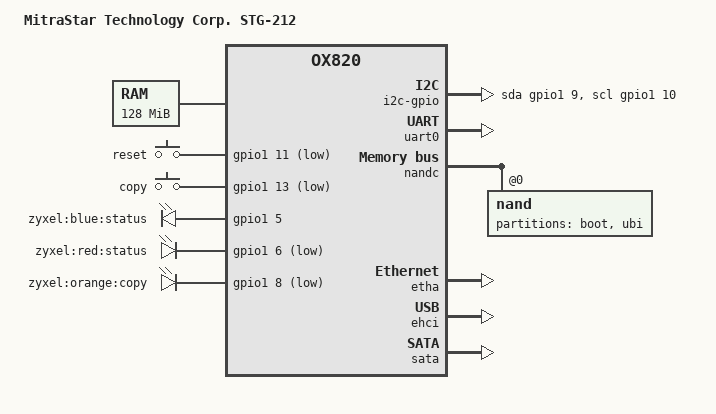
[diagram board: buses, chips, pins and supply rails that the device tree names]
/dts-v1/;

#include "ox820.dtsi"

#include <dt-bindings/input/input.h>

/ {
	model = "MitraStar Technology Corp. STG-212";

	compatible = "mitrastar,stg-212", "oxsemi,ox820";

	chosen {
		bootargs = "earlyprintk";
		stdout-path = "serial0:115200n8";
	};

	memory {
		/* 128Mbytes DDR */
		reg = <0x60000000 0x8000000>;
	};

	aliases {
		serial0 = &uart0;
		gpio0 = &gpio0;
		gpio1 = &gpio1;
	};

	gpio-keys-polled {
		compatible = "gpio-keys-polled";
		#address-cells = <1>;
		#size-cells = <0>;
		poll-interval = <100>;

		reset {
			label = "reset";
			gpios = <&gpio1 11 1>;
			linux,code = <KEY_RESTART>;
		};
		copy {
			label = "copy";
			gpios = <&gpio1 13 1>;
			linux,code = <KEY_COPY>;
		};
	};

	gpio-leds {
		compatible = "gpio-leds";
		status {
			label = "zyxel:blue:status";
			gpios = <&gpio1 5 0>;
		};
		status2 {
			label = "zyxel:red:status";
			gpios = <&gpio1 6 1>;
		};
		copy {
			label = "zyxel:orange:copy";
			gpios = <&gpio1 8 1>;
		};
	};

	i2c-gpio {
		compatible = "i2c-gpio";
		gpios = <&gpio1 9 0 &gpio1 10 0>;
		i2c-gpio,delay-us = <10>;
	};
};

&uart0 {
	status = "okay";

	pinctrl-names = "default";
	pinctrl-0 = <&pinctrl_uart0>;
};

&nandc {
	status = "okay";

	pinctrl-names = "default";
	pinctrl-0 = <&pinctrl_nand>;

	nand@0 {
		reg = <0>;
		#address-cells = <1>;
		#size-cells = <1>;
		nand-ecc-mode = "soft";
		nand-ecc-algo = "hamming";

		partition@0 {
			label = "boot";
			reg = <0x00000000 0x00e00000>;
			read-only;
		};

		partition@e00000 {
			label = "ubi";
			reg = <0x00e00000 0x07200000>;
		};
	};
};

&etha {
	status = "okay";

	pinctrl-names = "default";
	pinctrl-0 = <&pinctrl_etha_mdio>;
};

&ehci {
	status = "okay";
};

&sata {
	status = "okay";
};
